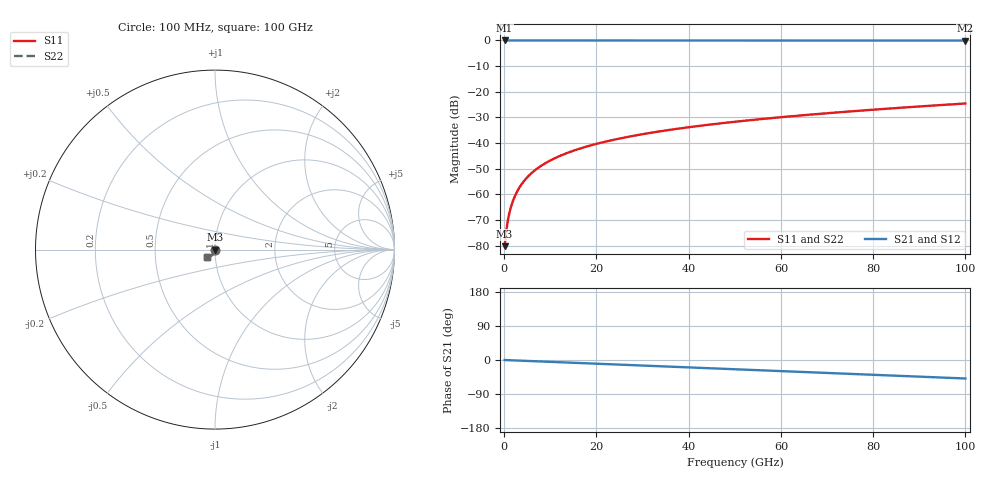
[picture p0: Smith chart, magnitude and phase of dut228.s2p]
! Touchstone file exported from HFSS 2026.1.0
!  File:  C:/ffzhzh/LocalFiles/Ansys_Project_Files/temp_train_TSV_228_1783507940_9504.aedt
!  Generated:  06:53:37 PM Jul  8, 2026
!  Design:  TSV
!  Project:  temp_train_TSV_228_1783507940_9504
! Variables:
!  h_bsmrdl = 2um
!  h_ox = 20um
!  h_rdl = 5um
!  h_sub = 99.37um
!  h_tmrdl = 5um
!  h_tsv = 99.37um
!  h_via = 3um
!  l_bsmrdl = 300um
!  l_sub = 426.62um
!  l_tmrdl = 200um
!  m_sub = 200um
!  pitch = 50.63um
!  r_tsv = 13.31um
!  s_tmrdl = 10um
!  w_bsmrdl = 18um
!  w_sub = 500um
!  w_tmrdl = 12um
!  x_tsv_center1 = 206um
!  x_tsv_center2 = 524um
!  x_tsv_center3 = 736um
!  x_tsv_center4 = 1054um
!  x_tsv_center5 = 1266um
!  x_tsv_center6 = 1584um
# GHz S MA R 50.000000
! Terminal data exported
! Port[1] = TSV1_1_T1
! Port[2] = TSV1_1_T2
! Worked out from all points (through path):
!   1000 points, 100 MHz to 100 GHz, reference 50 ohm
!   highest |S21| = 0.00 dB at 100 MHz (marker M1); lowest = 0.0 dB at 100 GHz (marker M2)
!   group delay of S21, straight-line fit = 1.35 ps
!   lowest |S11| = -80.2 dB at 100 MHz (marker M3), VSWR 1.00, Z = 50 + j0.000205 ohm
!   |S11| at or under -10 dB: start of sweep to end of sweep
!   |S22| runs from -80.2 to -24.6 dB; largest |S21 - S12| = 4.6e-15
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0.1  9.821e-05 1.2  0.9999 -0.1  0.9999 -0.1  9.821e-05 1.2
! Gamma 0 0 0 0
! Port Impedance 50 0 50 0
0.4  0.0001707 -12.4  0.9998 -0.2  0.9998 -0.2  0.0001707 -12.4
0.8  0.0003086 -35.0  0.9997 -0.4  0.9997 -0.4  0.0003086 -35.0
1.1  0.0004213 -45.5  0.9997 -0.5  0.9997 -0.5  0.0004213 -45.5
1.4  0.0005385 -52.5  0.9997 -0.7  0.9997 -0.7  0.0005385 -52.5
1.8  0.0007009 -58.7  0.9996 -0.9  0.9996 -0.9  0.000701 -58.7
2.4  0.0009559 -64.4  0.9996 -1.2  0.9996 -1.2  0.000956 -64.4
3  0.001222 -68.2  0.9995 -1.5  0.9995 -1.5  0.001222 -68.2
3.7  0.001542 -71.4  0.9995 -1.8  0.9995 -1.8  0.001542 -71.3
4.5  0.001916 -74.1  0.9994 -2.2  0.9994 -2.2  0.001916 -74.1
5.5  0.002392 -76.7  0.9993 -2.7  0.9993 -2.7  0.002392 -76.7
6.6  0.00292 -79.0  0.9993 -3.2  0.9993 -3.2  0.002921 -79.0
9.3  0.00424 -82.9  0.9991 -4.5  0.9991 -4.5  0.004241 -82.9
12.7  0.005941 -86.4  0.999 -6.2  0.999 -6.2  0.005942 -86.4
16.8  0.008023 -89.9  0.9988 -8.2  0.9988 -8.2  0.008024 -89.8
24.1  0.0118 -95.0  0.9985 -11.7  0.9985 -11.7  0.0118 -95.0
33.4  0.01675 -100.7  0.9982 -16.3  0.9982 -16.3  0.01676 -100.7
41.2  0.02104 -105.2  0.9979 -20.0  0.9979 -20.0  0.02104 -105.1
50.1  0.0261 -110.1  0.9976 -24.4  0.9976 -24.4  0.0261 -110.1
66.7  0.0361 -119.1  0.9969 -32.5  0.9969 -32.5  0.03611 -119.0
83.4  0.04711 -128.0  0.996 -40.6  0.996 -40.6  0.04711 -127.9
100  0.05921 -136.8  0.9948 -48.8  0.9948 -48.8  0.05922 -136.7
